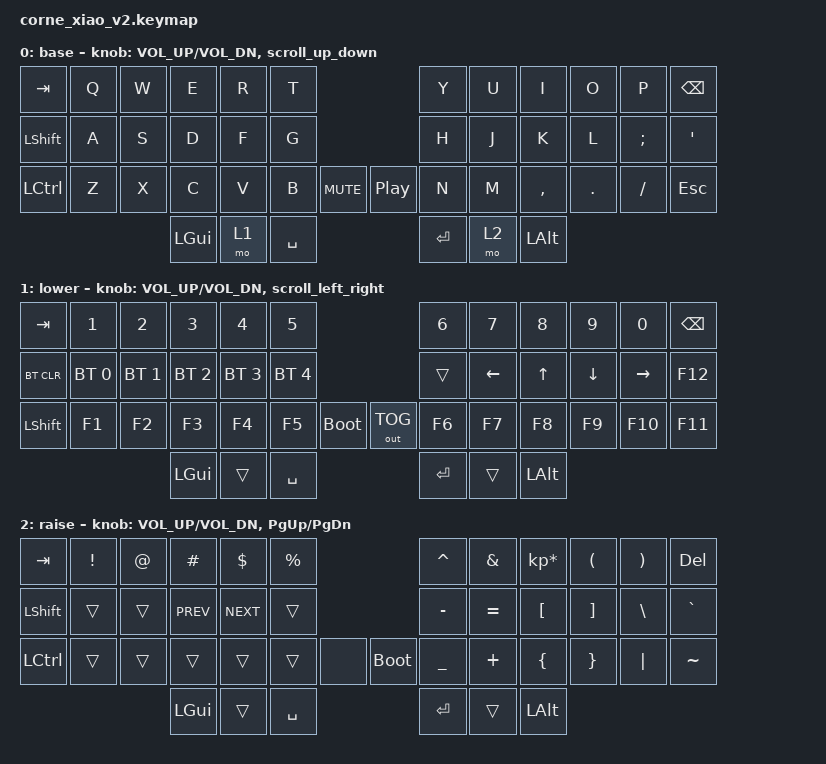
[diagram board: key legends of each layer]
#include <behaviors.dtsi>
#include <dt-bindings/zmk/keys.h>
#include <dt-bindings/zmk/bt.h>
#include <dt-bindings/zmk/outputs.h>
#define ZMK_POINTING_DEFAULT_SCRL_VAL 70    // default: 10
#include <dt-bindings/zmk/pointing.h>

/ {
    combos {
        compatible = "zmk,combos";
        combo_studio_unlock {
            timeout-ms = <50>;
            key-positions = <0 1>;
            bindings = <&studio_unlock>;
        };
    };
};

/ {
    behaviors {
        scroll_up_down: behavior_sensor_rotate_mouse_wheel_up_down {
            compatible = "zmk,behavior-sensor-rotate";
            #sensor-binding-cells = <0>;
            tap-ms = <20>;
            bindings = <&msc SCRL_UP>, <&msc SCRL_DOWN>;
	};
        scroll_left_right: behavior_sensor_rotate_mouse_wheel_left_right {
            compatible = "zmk,behavior-sensor-rotate";
            #sensor-binding-cells = <0>;
            tap-ms = <20>;
            bindings = <&msc SCRL_RIGHT >, <&msc SCRL_LEFT>;
	};
    };
};
/ {
    keymap {
        compatible = "zmk,keymap";

        default_layer {
            display-name = "base";
            sensor-bindings = <&inc_dec_kp C_VOL_UP C_VOL_DN &scroll_up_down>;

// -------------------------------------------------------------------------------------------------
// |  TAB |  Q  |  W  |  E  |  R  |  T  |                    |  Y  |  U   |  I  |  O  |  P  | BKSP |
// | SHFT |  A  |  S  |  D  |  F  |  G  |                    |  H  |  J   |  K  |  L  |  ;  |  '   |
// | CTRL |  Z  |  X  |  C  |  V  |  B  |  MUTE  ||Play/Pause|  N  |  M   |  ,  |  .  |  /  | ESC  |
//                    | GUI | LWR | SPC |                    | ENT | RSE  | ALT |
            bindings = <
&kp TAB   &kp Q &kp W &kp E    &kp R &kp T                         &kp Y   &kp U &kp I     &kp O   &kp P    &kp BSPC
&kp LSHFT &kp A &kp S &kp D    &kp F &kp G                         &kp H   &kp J &kp K     &kp L   &kp SEMI &kp SQT
&kp LCTRL &kp Z &kp X &kp C    &kp V &kp B     &kp C_MUTE &kp C_PP  &kp N   &kp M &kp COMMA &kp DOT &kp FSLH &kp ESC
                      &kp LGUI &mo 1 &kp SPACE                     &kp RET &mo 2 &kp LALT
            >;
        };

        lower_layer {
            display-name = "lower";
            sensor-bindings = <&inc_dec_kp C_VOL_UP C_VOL_DN &scroll_left_right>;

// ------------------------------------------------------------------------------------------------
// |  TAB |  1  |  2  |  3  |  4  |  5  |                    |  6  |  7  |  8  |  9  |  0  | BKSP |
// | BTCLR| BT1 | BT2 | BT3 | BT4 | BT5 |                    |     | LFT |  UP | DWN | RGT |  F12 |
// | SHFT | F1  | F2  | F3  | F4  | F5  |  boot  |  | output |  F6 | F7  | F8  | F9  | F10 |  F11 |
//                    | GUI |     | SPC |                    | ENT |     | ALT |
            bindings = <
&kp TAB    &kp N1       &kp N2       &kp N3       &kp N4       &kp N5                                &kp N6  &kp N7    &kp N8  &kp N9    &kp N0     &kp BSPC
&bt BT_CLR &bt BT_SEL 0 &bt BT_SEL 1 &bt BT_SEL 2 &bt BT_SEL 3 &bt BT_SEL 4                          &trans  &kp LEFT  &kp UP  &kp DOWN  &kp RIGHT  &kp F12
&kp LSHFT  &kp F1       &kp F2       &kp F3       &kp F4       &kp F5       &bootloader &out OUT_TOG &kp F6  &kp F7    &kp F8  &kp F9    &kp F10    &kp F11
                                     &kp LGUI     &trans       &kp SPACE                             &kp RET &trans    &kp LALT
            >;
        };

        raise_layer {
            display-name = "raise";
            sensor-bindings = <&inc_dec_kp C_VOL_UP C_VOL_DN &inc_dec_kp PG_UP PG_DN>;

// ------------------------------------------------------------------------------------------------
// |  TAB |  !  |  @  |  #  |  $  |  %  |                    |  ^  |  &  |  *  |  (  |  )  |  DEL |
// | SHFT |     |     | PREV|NEXT |     |                    |  -  |  =  |  [  |  ]  |  \  |  `   |
// | CTRL |     |     |     |     |     |        |  |  boot  |  _  |  +  |  {  |  }  | "|" |  ~   |
//                    | GUI |     | SPC |                    | ENT |     | ALT |
            bindings = <
&kp TAB   &kp EXCL &kp AT &kp HASH    &kp DLLR    &kp PRCNT                    &kp CARET &kp AMPS  &kp KP_MULTIPLY &kp LPAR &kp RPAR &kp DEL
&kp LSHFT &trans   &trans &kp C_PREV  &kp C_NEXT  &trans                       &kp MINUS &kp EQUAL &kp LBKT        &kp RBKT &kp BSLH &kp GRAVE
&kp LCTRL &trans   &trans &trans      &trans      &trans    &none &bootloader  &kp UNDER &kp PLUS  &kp LBRC        &kp RBRC &kp PIPE &kp TILDE
                          &kp LGUI    &trans      &kp SPACE                    &kp RET   &trans    &kp LALT
            >;
        };

        extra1 {
            display-name = "extra1";
            status = "reserved";
        };

        extra2 {
            display-name = "extra2";
            status = "reserved";
        };
    };
};
